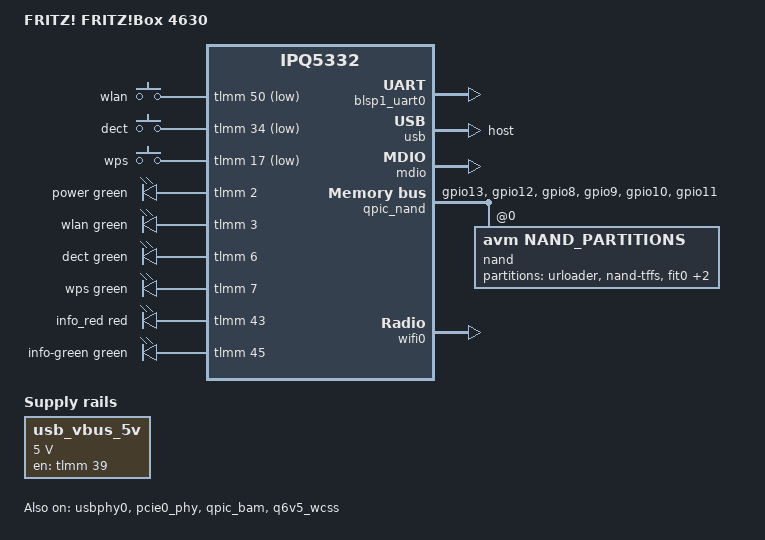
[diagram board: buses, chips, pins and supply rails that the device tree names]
/dts-v1/;

#include <arm64/qcom/ipq5332.dtsi>
#include <dt-bindings/gpio/gpio.h>
#include <dt-bindings/input/input.h>
#include <dt-bindings/leds/common.h>
#include <dt-bindings/clock/qcom,ipq5332-nsscc.h>

/ {
	model = "FRITZ! FRITZ!Box 4630";
	compatible = "fritz,fritzbox4630", "qcom,ipq5332";

	aliases {
		serial0 = &blsp1_uart0;
		led-boot = &power;
		led-failsafe = &info_red;
		led-running = &power;
		led-upgrade = &info_red;
	};

	chosen {
		bootargs = "console=ttyMSM0,115200n8 clk_ignore_unused";
		stdout-path = "serial0:115200n8";
	};

	reserved-memory {
		#address-cells = <2>;
		#size-cells = <2>;
		ranges;

        	tzapp:tzapp@49600000 {  /* TZAPPS */
			reg = <0x0 0x49600000 0x0 0x00600000>;
			no-map;
		};

		m3_dump: m3-dump@4d400000 {
			reg = <0x0 0x4d400000 0x0 0x100000>;
			no-map;
		};

		q6_caldb: q6-caldb@4d500000 {
			reg = <0x0 0x4d500000 0x0 0x500000>;
			no-map;
		};

		mlo_mem: mlo-global-mem@4db00000 {
			reg = <0x0 0x4db00000 0x0 0x01200000>;
			no-map;
		};

		qcn9274_host_ddr: qcn9274-host-ddr@4ed00000 {
			reg = <0x0 0x4ed00000 0x0 0x03200000>;
			no-map;
		};
	};

	keys {
		compatible = "gpio-keys";
		pinctrl-0 = <&button_pins>;
		pinctrl-names = "default";

		button-0 {
			label = "wlan";
			gpios = <&tlmm 50 GPIO_ACTIVE_LOW>;
			linux,code = <KEY_RFKILL>;
		};

		button-1 {
			label = "dect";
			gpios = <&tlmm 34 GPIO_ACTIVE_LOW>;
			linux,code = <KEY_PHONE>;
		};

		button-2 {
			label = "wps";
			gpios = <&tlmm 17 GPIO_ACTIVE_LOW>;
			linux,code = <KEY_WPS_BUTTON>;
		};
	};

	usb_vbus_5v: regulator-usb-vbus {
		compatible = "regulator-fixed";
		regulator-name = "usb_vbus_5v";
		regulator-min-microvolt = <5000000>;
		regulator-max-microvolt = <5000000>;
		gpios = <&tlmm 39 GPIO_ACTIVE_HIGH>;
		regulator-boot-on;
		enable-active-high;
	};

	leds {
		compatible = "gpio-leds";

		power: power {
			function = LED_FUNCTION_POWER;
			color = <LED_COLOR_ID_GREEN>;
			gpios = <&tlmm 2 GPIO_ACTIVE_HIGH>;
		};

		wlan {
			function = LED_FUNCTION_WLAN;
			color = <LED_COLOR_ID_GREEN>;
			gpios = <&tlmm 3 GPIO_ACTIVE_HIGH>;
		};

		dect {
			function = "dect";
			color = <LED_COLOR_ID_GREEN>;
			gpios = <&tlmm 6 GPIO_ACTIVE_HIGH>;
		};

		wps {
			function = LED_FUNCTION_WPS;
			color = <LED_COLOR_ID_GREEN>;
			gpios = <&tlmm 7 GPIO_ACTIVE_HIGH>;
		};

		info_red: info-red {
			function = "info";
			color = <LED_COLOR_ID_RED>;
			gpios = <&tlmm 43 GPIO_ACTIVE_HIGH>;
		};

		info-green {
			function = "info";
			color = <LED_COLOR_ID_GREEN>;
			gpios = <&tlmm 45 GPIO_ACTIVE_HIGH>;
		};
	};
};

&blsp1_uart0 {
	pinctrl-0 = <&serial_0_pins>;
	pinctrl-names = "default";
	status = "okay";
};

&sleep_clk {
	clock-frequency = <32000>;
};

&xo_board {
	clock-frequency = <24000000>;
};

&usbphy0 {
	status = "okay";
};

&usb {
	status = "okay";

	dr_mode = "host";
};

&pcie0_phy {
	compatible = "qcom,ipq5332-uniphy-usb-ss-phy";

	clocks = <&gcc GCC_PCIE3X1_PHY_AHB_CLK>,
		 <&gcc GCC_USB0_PHY_CFG_AHB_CLK>,
		 <&gcc GCC_USB0_PIPE_CLK>;
	clock-names = "ahb", "cfg_ahb", "pipe";

	resets = <&gcc GCC_USB0_PHY_BCR>;

	vdd-supply = <&usb_vbus_5v>;

	status = "okay";
};

&mdio {
	status = "okay";
};

&tlmm {
	button_pins: button-pins {
		pins = "gpio17", "gpio34", "gpio50";
		function = "gpio";
		drive-strength = <8>;
		bias-pull-up;
	};

	qspi_nand_pins: qspi_nand_pins {
		qspi_clock {
			pins = "gpio13";
			function = "qspi_clk";
			drive-strength = <8>;
			bias-pull-down;
		};

		qspi_cs {
			pins = "gpio12";
			function = "qspi_cs";
			drive-strength = <8>;
			bias-pull-up;
		};

		qspi_data {
			pins = "gpio8", "gpio9", "gpio10", "gpio11";
			function = "qspi_data";
			drive-strength = <8>;
			bias-pull-down;
		};
	};
};

&qpic_bam {
	status = "okay";
};

&qpic_nand {
	pinctrl-0 = <&qspi_nand_pins>;
	pinctrl-names = "default";
	status = "okay";

	nand@0 {
		compatible = "avm,nand_partitions","spi-nand";
		reg = <0>;
		#address-cells = <1>;
		#size-cells = <1>;
		nand-ecc-engine = <&qpic_nand>;
		nand-ecc-strength = <4>;
		nand-ecc-step-size = <512>;

		partitions {
			compatible = "fixed-partitions";
			#address-cells = <1>;
			#size-cells = <1>;

			partition@0 {
				label = "urloader";
				reg = <0x00000000 0x600000>;
				read-only;
			};

			partition@1 {
				label = "nand-tffs";
				reg = <0x600000 0x800000>;
				read-only;
			};

			partition@2 {
				label = "fit0";
				reg = <0xe00000 0x800000>;
			};

			partition@3 {
				label = "fit1";
				reg = <0x1600000 0x800000>;
			};

			partition@4 {
				label = "ubi";
				reg = <0x1e00000 0xe200000>;
			};
		};
	};
};

&wifi0 {
	firmware-name = "ath12k/IPQ5332/hw1.0/q6_fw1.mdt",
			"ath12k/IPQ5332/hw1.0/iu_fw.mdt";
	memory-region = <&q6_region>, <&m3_dump>, <&q6_caldb>, <&mlo_mem>;
	memory-region-names = "q6-region", "m3-dump", "q6-caldb", "mlo-global-mem";
	qcom,bdf-address-offset = <0x0c00000>;
	qcom,board-id = <18>;
	qcom,legacy-userpd-bootinfo;
	qcom,rproc = <&q6v5_wcss>;
	qcom,wsi-controller;
	status = "okay";
};

&q6v5_wcss {
	firmware-name = "ath12k/IPQ5332/hw1.0/q6_fw0.mdt";
	status = "okay";
};
